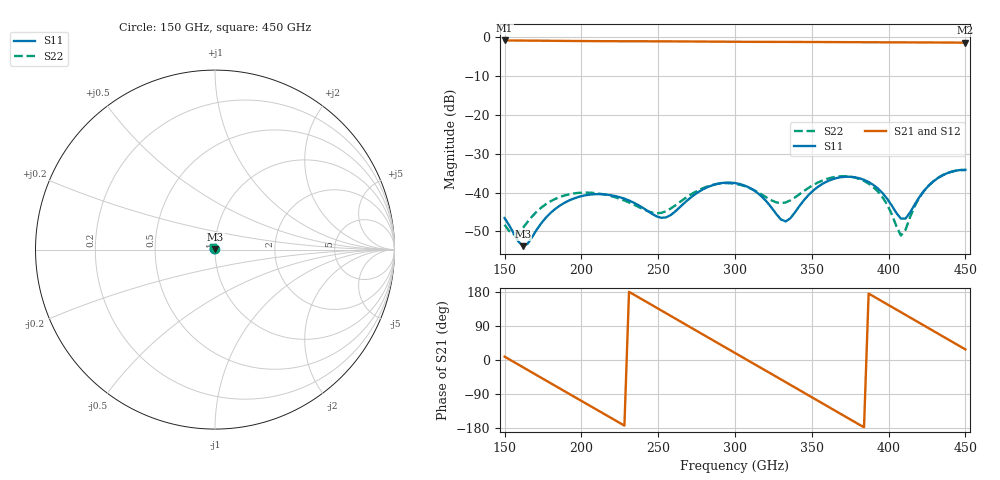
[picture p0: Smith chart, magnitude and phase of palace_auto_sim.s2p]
#  GHZ S DB R 50
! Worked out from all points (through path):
!   101 points, 150 GHz to 450 GHz, reference 50 ohm
!   highest |S21| = -0.83 dB at 150 GHz (marker M1); lowest = -1.4 dB at 450 GHz (marker M2)
!   group delay of S21, straight-line fit = 6.49 ps
!   lowest |S11| = -53.8 dB at 162 GHz (marker M3), VSWR 1.00, Z = 50.2 + j0.131 ohm
!   |S11| at or under -10 dB: start of sweep to end of sweep
!   |S22| runs from -51.1 to -34.2 dB; largest |S21 - S12| = 1.1e-14
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150  -46.58 142.5  -0.83 8.9  -0.83 8.9  -48.31 126.8
156  -50.57 104.1  -0.84 -5.2  -0.84 -5.2  -50.77 70.0
162  -53.82 40.1  -0.86 -19.2  -0.86 -19.2  -49.08 11.0
183  -44.21 -112.6  -0.92 -68.3  -0.92 -68.3  -41.64 -99.3
201  -40.84 174.0  -0.98 -110.2  -0.98 -110.2  -40.03 -171.3
216  -40.52 120.1  -1.01 -145.1  -1.01 -145.1  -40.61 131.8
228  -41.60 78.5  -1.03 -173.1  -1.03 -173.1  -42.06 85.7
240  -43.95 30.7  -1.04 158.9  -1.04 158.9  -44.23 30.6
252  -46.51 -41.2  -1.05 130.8  -1.05 130.8  -45.24 -43.8
264  -43.82 -122.9  -1.08 102.7  -1.08 102.7  -42.48 -115.8
276  -39.91 -177.0  -1.10 74.6  -1.10 74.6  -39.45 -169.1
300  -37.56 101.4  -1.16 18.6  -1.16 18.6  -37.75 102.7
315  -40.21 49.4  -1.19 -16.4  -1.19 -16.4  -39.94 42.5
333  -47.44 -67.0  -1.20 -58.4  -1.20 -58.4  -42.56 -65.0
351  -39.47 -177.3  -1.22 -100.5  -1.22 -100.5  -38.05 -156.6
363  -36.64 144.4  -1.24 -128.6  -1.24 -128.6  -36.14 162.2
378  -36.07 100.7  -1.27 -163.7  -1.27 -163.7  -36.15 116.5
393  -38.95 53.3  -1.30 161.3  -1.30 161.3  -39.74 69.2
402  -43.31 12.1  -1.31 140.2  -1.31 140.2  -45.53 29.0
408  -46.72 -38.9  -1.32 126.2  -1.32 126.2  -51.07 -38.0
426  -38.27 -165.9  -1.34 84.1  -1.34 84.1  -38.23 -169.1
450  -34.15 126.5  -1.39 27.9  -1.39 27.9  -34.22 123.9
